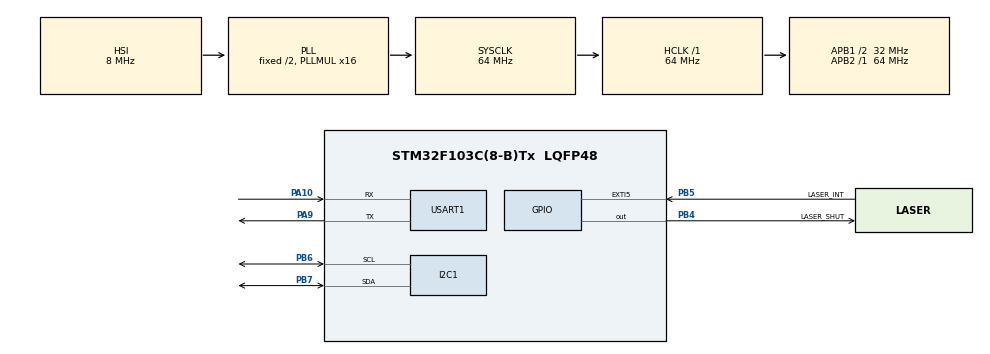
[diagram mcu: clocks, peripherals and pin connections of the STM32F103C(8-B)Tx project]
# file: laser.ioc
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I2C1.I2C_Mode=I2C_Fast
Mcu.Family=STM32F1
Mcu.Name=STM32F103C(8-B)Tx
Mcu.Package=LQFP48
NVIC.EXTI9_5_IRQn=true\:0\:0\:false\:false\:true\:true\:true\:true
NVIC.PriorityGroup=NVIC_PRIORITYGROUP_4
NVIC.USART1_IRQn=true\:0\:0\:false\:false\:true\:true\:true\:true
PA10.Mode=Asynchronous
PA10.Signal=USART1_RX
PA13.Mode=Serial_Wire
PA13.Signal=SYS_JTMS-SWDIO
PA14.Mode=Serial_Wire
PA14.Signal=SYS_JTCK-SWCLK
PA9.Mode=Asynchronous
PA9.Signal=USART1_TX
PB4.GPIO_Label=LASER_SHUT
PB4.Signal=GPIO_Output
PB5.GPIO_Label=LASER_INT
PB5.GPIO_ModeDefaultEXTI=GPIO_MODE_IT_RISING
PB5.Signal=GPXTI5
PB6.Mode=I2C
PB6.Signal=I2C1_SCL
PB7.Mode=I2C
PB7.Signal=I2C1_SDA
PD0-OSC_IN.Mode=HSE-External-Oscillator
PD0-OSC_IN.Signal=RCC_OSC_IN
PD1-OSC_OUT.Mode=HSE-External-Oscillator
PD1-OSC_OUT.Signal=RCC_OSC_OUT
ProjectManager.HeapSize=0x200
ProjectManager.StackSize=0x400
ProjectManager.TargetToolchain=CMake
RCC.AHBFreq_Value=64000000
RCC.APB1CLKDivider=RCC_HCLK_DIV2
RCC.APB1Freq_Value=32000000
RCC.APB1TimFreq_Value=64000000
RCC.APB2Freq_Value=64000000
RCC.APB2TimFreq_Value=64000000
RCC.HCLKFreq_Value=64000000
RCC.PLLMUL=RCC_PLL_MUL16
RCC.SYSCLKFreq_VALUE=64000000
RCC.SYSCLKSource=RCC_SYSCLKSOURCE_PLLCLK
RCC.USBFreq_Value=64000000
USART1.VirtualMode=VM_ASYNC
board=custom

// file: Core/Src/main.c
/* USER CODE BEGIN Header */
/**
  ******************************************************************************
  * @file           : main.c
  * @brief          : Main program body
  ******************************************************************************
  * @attention
  *
  * Copyright (c) 2025 STMicroelectronics.
  * All rights reserved.
  *
  * This software is licensed under terms that can be found in the LICENSE file
  * in the root directory of this software component.
  * If no LICENSE file comes with this software, it is provided AS-IS.
  *
  ******************************************************************************
  */
/* USER CODE END Header */
#include "main.h"
#include "i2c.h"
#include "usart.h"
#include "gpio.h"

/* USER CODE BEGIN Includes */
#include "VL53L1X_api.h"

#include "stdlib.h"
#include "string.h"
/* USER CODE END Includes */

/* USER CODE BEGIN PD */
#include "debug.h"
/* USER CODE END PD */

/* USER CODE BEGIN PV */
uint16_t dev = 0x52;
int status = 0;

char uart_buf[256];

static const uint16_t time_budgets[] = {20, 50, 100, 200, 500};
static uint8_t current_budget = 0;
/* USER CODE END PV */

void SystemClock_Config(void);

/* USER CODE BEGIN 0 */

uint8_t data_ready = 0;
void HAL_GPIO_EXTI_Callback(uint16_t GPIO_Pin)
{
  if(GPIO_Pin == LASER_INT_Pin) {
    data_ready = 1;
  }
}

void reset_laser_int(){
  data_ready = 0;
  status = VL53L1X_ClearInterrupt(dev); /* clear interrupt has to be called to enable next interrupt*/
}

/**
 * @brief Wake up module from hardware standby mode (no i2c comminucation)
*/
void laser_on(){
  HAL_GPIO_WritePin(LASER_SHUT_GPIO_Port, LASER_SHUT_Pin, GPIO_PIN_SET);
}
/**
 * @brief Make module into hardware standby mode
*/
void laser_off(){
  HAL_GPIO_WritePin(LASER_SHUT_GPIO_Port, LASER_SHUT_Pin, GPIO_PIN_RESET); // turn off
}

/**
 *
 */
VL53L1X_ERROR laser_init(uint16_t dev/* , uint32_t timeout_ms */){
  uint8_t state = 1;
  while(state){
    //TODO: timeout
    status = VL53L1X_BootState(dev, &state);
    DEBUG_transmit_fmt("status = %d", status);
    HAL_Delay(5);
  }
  VL53L1X_SensorInit(dev);
  return 0;
}

uint8_t uart_command = '\0';
uint8_t uart_flag = 0;
void HAL_UART_RxCpltCallback(UART_HandleTypeDef *huart){
  if (huart == &huart1){
    uart_flag = 1;
  }
}

void send_CSV_header(){
  sprintf(uart_buf, "%s;%s;%s;%s;%s;%s;%s;%s\n",
    "time",        "dist_mode", "budget",    "signal_rate", "ambient_rate", "spad_num", "status", "dist"
  );
  HAL_UART_Transmit(&huart1, (uint8_t*) uart_buf, strlen(uart_buf), 100);
}

void send_CSV_data(uint8_t dist_mode, uint16_t time_budget, uint8_t status, uint16_t dist, uint16_t signal_rate, uint16_t ambient_rate, uint16_t spad_num){
  sprintf(uart_buf, "%lu;%u;%u;%u;%u;%u;%u;%u\n",
    HAL_GetTick(), dist_mode,   time_budget, signal_rate,   ambient_rate,   spad_num,   status,   dist
  );
  HAL_UART_Transmit(&huart1, (uint8_t*) uart_buf, strlen(uart_buf), 100);
}

/* USER CODE END 0 */

int main(void)
{

  /* USER CODE BEGIN 1 */
  uint8_t byteData, sensorState=0;
  uint16_t wordData;
  uint8_t ToFSensor = 1; // 0=Left, 1=Center(default), 2=Right
  uint16_t dist_mode;
  uint16_t Distance;
  uint16_t SignalRate;
  uint16_t AmbientRate;
  uint16_t SpadNum;
  uint8_t RangeStatus;
  /* USER CODE END 1 */

  /* MCU Configuration--------------------------------------------------------*/

  /* Reset of all peripherals, Initializes the Flash interface and the Systick. */
  HAL_Init();

  /* Configure the system clock */
  SystemClock_Config();

  /* Initialize all configured peripherals */
  MX_GPIO_Init();
  MX_I2C1_Init();
  MX_USART1_UART_Init();
  /* USER CODE BEGIN 2 */
  HAL_Delay(100);

  DEBUG_transmit_str("# booting laser");
  laser_on();
  laser_init(dev);
  DEBUG_transmit_str("# inited laser");

  // TODO: function and structs for operate on laser
  status = VL53L1X_SetDistanceMode(dev, 2); /* 1=short, 2=long */
  status = VL53L1X_SetTimingBudgetInMs(dev, time_budgets[current_budget]); /* in ms possible values [20, 50, 100, 200, 500] */
  status = VL53L1X_SetInterMeasurementInMs(dev, 500); /* in ms, IM must be > = TB */ //TODO: checher
  DEBUG_transmit_str("# configured laser");
  /* USER CODE END 2 */

  /* Infinite loop */
  /* USER CODE BEGIN WHILE */
  send_CSV_header();
  HAL_UART_Receive_IT(&huart1, &uart_command, 1);
  status = VL53L1X_StartRanging(dev);
  while (1)
  {
    /* USER CODE END WHILE */

    /* USER CODE BEGIN 3 */
    if (data_ready){
      status = VL53L1X_GetDistanceMode(dev, &dist_mode);

      status = VL53L1X_GetRangeStatus(dev, &RangeStatus); //TODO: stringify status
      status = VL53L1X_GetDistance(dev, &Distance);
      status = VL53L1X_GetSignalRate(dev, &SignalRate);
      status = VL53L1X_GetAmbientRate(dev, &AmbientRate);
      status = VL53L1X_GetSpadNb(dev, &SpadNum);

      send_CSV_data(dist_mode, time_budgets[current_budget], RangeStatus, Distance, SignalRate, AmbientRate, SpadNum);

      reset_laser_int();
    }

    // process uart_command
    if (uart_flag){
      status = VL53L1X_StopRanging(dev);

      if (uart_command == '1'){
        status = VL53L1X_SetDistanceMode(dev, 1); /* 1=short, 2=long */
      }else if (uart_command == '2'){
        status = VL53L1X_SetDistanceMode(dev, 2); /* 1=short, 2=long */
      }else if (uart_command == '3'){
        if (current_budget == sizeof(time_budgets)/sizeof(time_budgets[0]) - 1)
          current_budget = -1;
        status = VL53L1X_SetTimingBudgetInMs(dev, time_budgets[++current_budget]);
      }

      // restart ranging
      status = VL53L1X_StartRanging(dev);

      // reset uart rx
      uart_flag = 0;
      HAL_UART_Receive_IT(&huart1, &uart_command, 1);
    }
  }
  /* USER CODE END 3 */
}

void SystemClock_Config(void)
{
  RCC_OscInitTypeDef RCC_OscInitStruct = {0};
  RCC_ClkInitTypeDef RCC_ClkInitStruct = {0};

  /** Initializes the RCC Oscillators according to the specified parameters
  * in the RCC_OscInitTypeDef structure.
  */
  RCC_OscInitStruct.OscillatorType = RCC_OSCILLATORTYPE_HSI;
  RCC_OscInitStruct.HSIState = RCC_HSI_ON;
  RCC_OscInitStruct.HSICalibrationValue = RCC_HSICALIBRATION_DEFAULT;
  RCC_OscInitStruct.PLL.PLLState = RCC_PLL_ON;
  RCC_OscInitStruct.PLL.PLLSource = RCC_PLLSOURCE_HSI_DIV2;
  RCC_OscInitStruct.PLL.PLLMUL = RCC_PLL_MUL16;
  if (HAL_RCC_OscConfig(&RCC_OscInitStruct) != HAL_OK)
  {
    Error_Handler();
  }

  /** Initializes the CPU, AHB and APB buses clocks
  */
  RCC_ClkInitStruct.ClockType = RCC_CLOCKTYPE_HCLK|RCC_CLOCKTYPE_SYSCLK
                              |RCC_CLOCKTYPE_PCLK1|RCC_CLOCKTYPE_PCLK2;
  RCC_ClkInitStruct.SYSCLKSource = RCC_SYSCLKSOURCE_PLLCLK;
  RCC_ClkInitStruct.AHBCLKDivider = RCC_SYSCLK_DIV1;
  RCC_ClkInitStruct.APB1CLKDivider = RCC_HCLK_DIV2;
  RCC_ClkInitStruct.APB2CLKDivider = RCC_HCLK_DIV1;

  if (HAL_RCC_ClockConfig(&RCC_ClkInitStruct, FLASH_LATENCY_2) != HAL_OK)
  {
    Error_Handler();
  }
}

void Error_Handler(void)
{
  __disable_irq();
  while (1)
  {
  }
}
